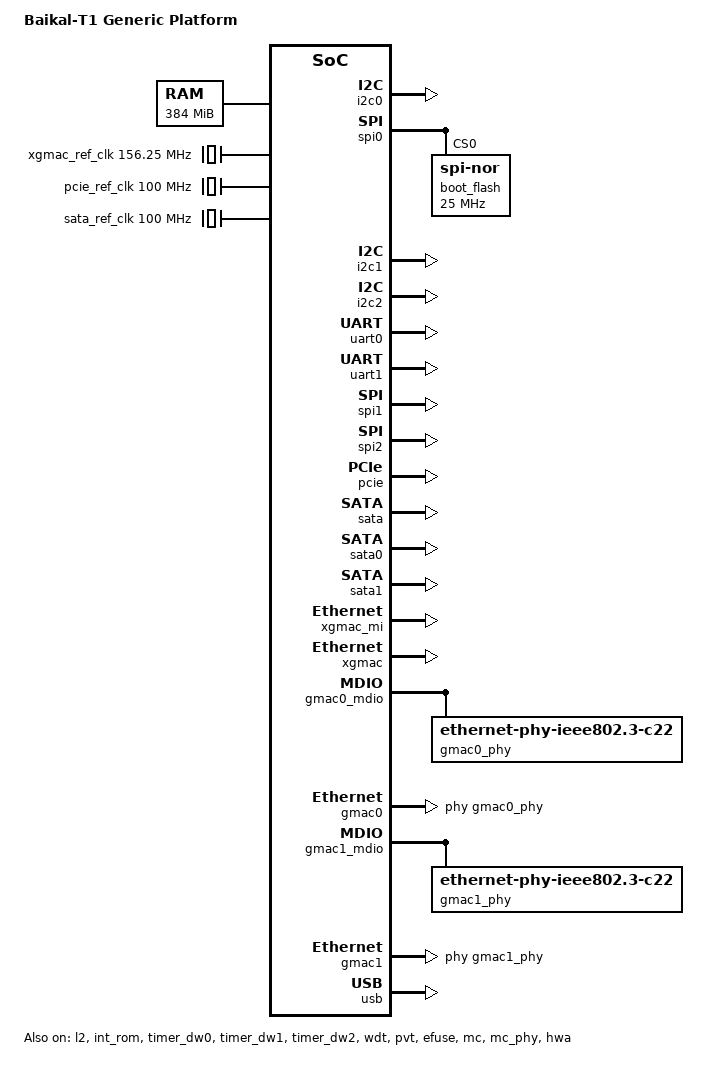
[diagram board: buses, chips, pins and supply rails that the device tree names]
// SPDX-License-Identifier: GPL-2.0-only
/*
 * Copyright (C) 2022 BAIKAL ELECTRONICS, JSC
 *
 * Baikal-T1 generic platform device tree
 */

/dts-v1/;

#include <dt-bindings/interrupt-controller/irq.h>

#include "bt1.dtsi"

/ {
	model = "Baikal-T1 Generic Platform";
	compatible = "baikal,bt1";

	chosen {
		/*
		 * Note of having both EARLY_PRINTK and SERIAL_EARLYCON
		 * activated at the same time. If they both refer to the same
		 * device, you'll end up with duplicated log messages.
		 * Here by passing 'earlycon' to the kernel we'll activate it
		 * to parse the stdout-path property to find the early console
		 * device. System console will be then activated in accordance
		 * with it if 'console=' parameter isn't passed. Any of the
		 * following consoles are valid: ttyS{0,1}/uart{0,1} (which
		 * alias is serial{0,1}), early_fdc (CDMM-JTAG serial iface).
		 */
		bootargs = "console=ttyS0,115200n8 earlycon maxcpus=2";
		stdout-path = "serial0:115200n8";

		/* It's implied that the bootloader updates the initrd address */
		linux,initrd-start = <0 0>;
		linux,initrd-end   = <0 0>;
	};

	memory {
		/*
		 * Declare required low-memory and additional 256MB of high-
		 * memory, which due to the DW uMCTL2 controller specific setup
		 * nearly always exists as being remapped upper part of the
		 * first memory chip. Without low-level remapping that segment
		 * is hidden behind the MMIO region and isn't reachable.
		 * NOTE. For the reason of having MMIO above the very first
		 * 128MB of the low memory, the second 128MB of the physical
		 * memory is always unavailable as being hidden behind MMIO
		 * and non-remappable by DW uMCTL2.
		 */
		device_type = "memory";
		reg = <0 0x00000000 0 0x08000000>,
		      <0 0x20000000 0 0x10000000>;
	};

	/* Standard xGMAC/PCIe/SATA reference clocks setup */
	clocks {
		xgmac_ref_clk: clock-oscillator-xgmac {
			compatible = "fixed-clock";
			#clock-cells = <0>;
			clock-frequency  = <156250000>;
			clock-output-names = "xgmac156m";
		};

		pcie_ref_clk: clock-oscillator-pcie {
			compatible = "fixed-clock";
			#clock-cells = <0>;
			clock-frequency  = <100000000>;
			clock-output-names = "pcie100m";
		};

		sata_ref_clk: clock-oscillator-sata {
			compatible = "fixed-clock";
			#clock-cells = <0>;
			clock-frequency  = <100000000>;
			clock-output-names = "sata100m";
		};
	};
};

&l2 {
	status = "okay";
};

&i2c0 {
	status = "okay";
};

&int_rom {
	status = "okay";
};

&spi0 {
	num-cs = <1>;

	status = "okay";

	/*
	 * Most likely an SPI-nor flash will be always installed on each
	 * device with Baikal-T1 SoC on board. There is no just better
	 * alternative to boot a normal system on that CPU.
	 * Note Baikal-T1 is able to transparently access up to 16MB flash,
	 * so the system bootloader size can not exceed that limit, but an
	 * attached SPI-flash can as long as it supports 3bytes addressing
	 * of the lowest partition.
	 */
	boot_flash: flash@0 {
		compatible = "jedec,spi-nor";
		#address-cells = <1>;
		#size-cells = <1>;
		reg = <0>;

		spi-max-frequency = <25000000>;
		m25p,fast-read;
	};
};

&gpio0 {
	status = "okay";
};

&gpio1 {
	status = "okay";
};

&i2c1 {
	status = "okay";
};

&i2c2 {
	status = "okay";
};

&timer_dw0 {
	status = "okay";
};

&timer_dw1 {
	status = "okay";
};

&timer_dw2 {
	status = "okay";
};

&uart0 {
	status = "okay";
};

&uart1 {
	status = "okay";
};

&wdt {
	status = "okay";
};

&spi1 {
	num-cs = <4>;

	status = "okay";
};

&spi2 {
	num-cs = <4>;

	status = "okay";
};

&pvt {
	status = "okay";
};

&efuse {
	status = "okay";
};

&pcie {
	clocks = <&ccu_sys CCU_SYS_APB_CLK>,
		 <&ccu_axi CCU_AXI_PCIE_M_CLK>,
		 <&ccu_axi CCU_AXI_PCIE_S_CLK>,
		 <&pcie_ref_clk>;
	clock-names = "dbi", "mstr", "slv", "ref";


	status = "okay";
};

&sram {
	status = "okay";
};

&dma {
	status = "okay";
};

&mc {
	status = "okay";
};

&mc_phy {
	status = "okay";
};

&sata {
	clocks = <&ccu_sys CCU_SYS_APB_CLK>,
		 <&ccu_axi CCU_AXI_SATA_CLK>,
		 <&sata_ref_clk>;
	clock-names = "pclk", "aclk", "ref";

	status = "okay";
};

&sata0 {
	hba-port-cap = <HBA_PORT_FBSCP>;

	status = "okay";
};

&sata1 {
	hba-port-cap = <HBA_PORT_FBSCP>;

	status = "okay";
};

&xgmac_mi {
	status = "okay";
};

&xgmac_pcs {
	clocks = <&ccu_sys CCU_SYS_XGMAC_REF_CLK>,
		 <&xgmac_ref_clk>;
	clock-names = "core", "pad";
};

&xgmac {
	mac-address = [ 00 20 13 ba 1c a1 ];

	status = "okay";
};

&hwa {
	status = "okay";
};

&gmac0_mdio {
	reset-delay-us = <10000>;
	reset-post-delay-us = <30000>;

	/*
	 * We don't know actual PHY address on a generic device. Let the driver
	 * auto scan the MDIO bus looking for the IEEE 802.3 Clause 22
	 * compatible PHY.
	 */
	gmac0_phy: ethernet-phy {
		compatible = "ethernet-phy-ieee802.3-c22";
	};
};

&gmac0 {
	mac-address = [ 7a 72 6c 4a 7a 07 ];

	phy-handle = <&gmac0_phy>;

	status = "okay";
};

&gmac1_mdio {
	reset-delay-us = <10000>;
	reset-post-delay-us = <30000>;

	/*
	 * We don't know actual PHY address on a generic device. Let the driver
	 * auto scan the MDIO bus looking for the IEEE 802.3 Clause 22
	 * compatible PHY.
	 */
	gmac1_phy: ethernet-phy {
		compatible = "ethernet-phy-ieee802.3-c22";
	};
};

&gmac1 {
	mac-address = [ 7a 72 6c 4a 7b 07 ];

	phy-handle = <&gmac1_phy>;

	status = "okay";
};

&usb {
	status = "okay";
};
